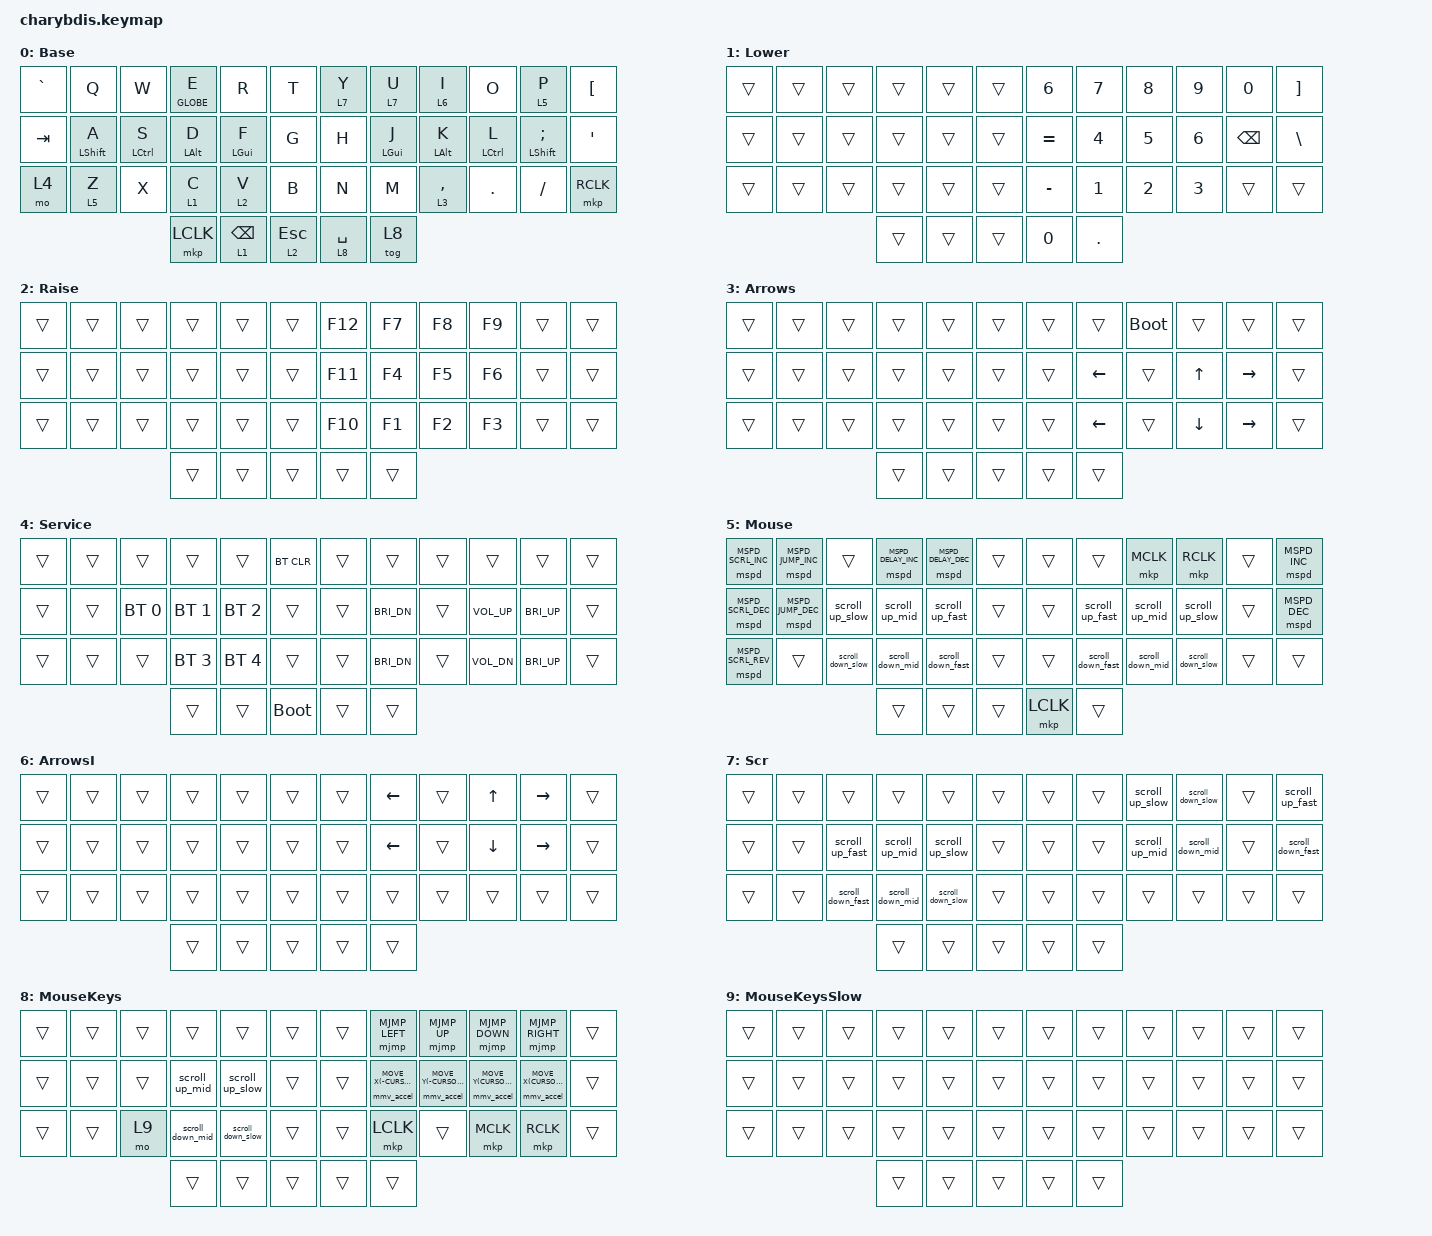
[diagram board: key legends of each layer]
#include <behaviors.dtsi>
#include <dt-bindings/zmk/pointing.h>
#include <zephyr/dt-bindings/input/input-event-codes.h>
#include <dt-bindings/zmk/keys.h>
#include <dt-bindings/zmk/bt.h>
#include <dt-bindings/zmk/outputs.h>
#include <dt-bindings/zmk/mouse_speed.h>
#include <dt-bindings/zmk/keys.h>

// Wheel units per second for the scroll_up_* / scroll_down_* macros
#define SCROLL_SPEED(n) ((n) * 10)

// Keyboard cursor speed in pixels per second at the 100% speed level.
// Horizontal is 12/9 of vertical, for both smooth movement and jumps.
#define CURSOR_RATIO_MUL 12
#define CURSOR_RATIO_DIV 9
#define CURSOR_Y 600
#define CURSOR_X (CURSOR_Y * CURSOR_RATIO_MUL / CURSOR_RATIO_DIV)

&lt {
    tapping-term-ms = <200>;
    flavor = "balanced";
    quick-tap-ms = <150>;
};

&mt {
    tapping-term-ms = <200>;
    flavor = "balanced";
    quick-tap-ms = <150>;
    require-prior-idle-ms = <125>;
};

/ {
    behaviors {
        // Tap-preferred so fast typing never turns Z into a layer hold
        lt_tp: layer_tap_tap_preferred {
            compatible = "zmk,behavior-hold-tap";
            #binding-cells = <2>;
            flavor = "tap-preferred";
            tapping-term-ms = <200>;
            quick-tap-ms = <150>;
            bindings = <&mo>, <&kp>;
        };

        // Smooth constant-speed scroll: keeps scrolling while the key is
        // held and stops as soon as it is released
        msc_smooth: mouse_scroll_smooth {
            compatible = "zmk,behavior-input-two-axis";
            #binding-cells = <1>;
            x-input-code = <INPUT_REL_HWHEEL>;
            y-input-code = <INPUT_REL_WHEEL>;
            trigger-period-ms = <16>;
            time-to-max-speed-ms = <0>;
            acceleration-exponent = <0>;
        };

        // Cursor movement: accelerates to full speed over 300 ms while held,
        // stops on release.
        // Holding two directions adds them up into a diagonal
        mmv_accel: mouse_move_accel {
            compatible = "zmk,behavior-input-two-axis";
            #binding-cells = <1>;
            x-input-code = <INPUT_REL_X>;
            y-input-code = <INPUT_REL_Y>;
            trigger-period-ms = <8>;
            time-to-max-speed-ms = <300>;
            acceleration-exponent = <1>;
        };

        // Steps the cursor speed, scroll speed, jump step or jump delay up or
        // down, or toggles scroll reversal, for the active BT profile
        mspd: mouse_speed {
            compatible = "zmk,behavior-mouse-speed";
            #binding-cells = <1>;
        };

        // Coarse cursor jumps: one step on press, then another step after
        // every delay until release. Two directions add up into a diagonal
        mjmp: mouse_jump {
            compatible = "zmk,behavior-mouse-jump";
            #binding-cells = <1>;
            horizontal-mul = <CURSOR_RATIO_MUL>;
            horizontal-div = <CURSOR_RATIO_DIV>;
        };
    };

    zip_mouse_speed: zip_mouse_speed {
        compatible = "zmk,input-processor-mouse-speed";
        #input-processor-cells = <2>;
    };

    // Scroll speed follows the per-profile scroll level set on the MouseKeys layer
    msc_smooth_input_listener {
        compatible = "zmk,input-listener";
        device = <&msc_smooth>;
        input-processors = <&zip_mouse_speed 1 1>;

        // Holding X on the MouseKeys layer halves the speed
        slow {
            layers = <9>;
            input-processors = <&zip_mouse_speed 1 2>;
        };
    };

    mmv_accel_input_listener {
        compatible = "zmk,input-listener";
        device = <&mmv_accel>;
        input-processors = <&zip_mouse_speed 1 1>;

        // Holding X on the MouseKeys layer halves the speed
        slow {
            layers = <9>;
            input-processors = <&zip_mouse_speed 1 2>;
        };
    };

    // Jumps bypass the cursor speed level: their step size is set directly
    mjmp_input_listener {
        compatible = "zmk,input-listener";
        device = <&mjmp>;
    };

    macros {
        // Scroll while held: SCROLL_SPEED(n) wheel units per second
        scroll_down_slow: scroll_down_slow {
            compatible = "zmk,behavior-macro";
            #binding-cells = <0>;
            wait-ms = <0>;
            tap-ms = <0>;
            bindings = <&macro_press &msc_smooth MOVE_Y(SCROLL_SPEED(2))>, <&macro_pause_for_release>, <&macro_release &msc_smooth MOVE_Y(SCROLL_SPEED(2))>;
        };

        scroll_up_slow: scroll_up_slow {
            compatible = "zmk,behavior-macro";
            #binding-cells = <0>;
            wait-ms = <0>;
            tap-ms = <0>;
            bindings = <&macro_press &msc_smooth MOVE_Y(-SCROLL_SPEED(2))>, <&macro_pause_for_release>, <&macro_release &msc_smooth MOVE_Y(-SCROLL_SPEED(2))>;
        };

        scroll_down_mid: scroll_down_mid {
            compatible = "zmk,behavior-macro";
            #binding-cells = <0>;
            wait-ms = <0>;
            tap-ms = <0>;
            bindings = <&macro_press &msc_smooth MOVE_Y(SCROLL_SPEED(5))>, <&macro_pause_for_release>, <&macro_release &msc_smooth MOVE_Y(SCROLL_SPEED(5))>;
        };

        scroll_up_mid: scroll_up_mid {
            compatible = "zmk,behavior-macro";
            #binding-cells = <0>;
            wait-ms = <0>;
            tap-ms = <0>;
            bindings = <&macro_press &msc_smooth MOVE_Y(-SCROLL_SPEED(5))>, <&macro_pause_for_release>, <&macro_release &msc_smooth MOVE_Y(-SCROLL_SPEED(5))>;
        };

        scroll_down_fast: scroll_down_fast {
            compatible = "zmk,behavior-macro";
            #binding-cells = <0>;
            wait-ms = <0>;
            tap-ms = <0>;
            bindings = <&macro_press &msc_smooth MOVE_Y(SCROLL_SPEED(20))>, <&macro_pause_for_release>, <&macro_release &msc_smooth MOVE_Y(SCROLL_SPEED(20))>;
        };

        scroll_up_fast: scroll_up_fast {
            compatible = "zmk,behavior-macro";
            #binding-cells = <0>;
            wait-ms = <0>;
            tap-ms = <0>;
            bindings = <&macro_press &msc_smooth MOVE_Y(-SCROLL_SPEED(20))>, <&macro_pause_for_release>, <&macro_release &msc_smooth MOVE_Y(-SCROLL_SPEED(20))>;
        };

        cmd_c: cmd_c {
            compatible = "zmk,behavior-macro";
            #binding-cells = <0>;
            bindings = <&macro_press &kp LGUI>, <&macro_tap &kp C>, <&macro_release &kp LGUI>;
        };

        cmd_v: cmd_v {
            compatible = "zmk,behavior-macro";
            #binding-cells = <0>;
            bindings = <&macro_press &kp LGUI>, <&macro_tap &kp V>, <&macro_release &kp LGUI>;
        };

        cmd_z: cmd_z {
            compatible = "zmk,behavior-macro";
            #binding-cells = <0>;
            bindings = <&macro_press &kp LGUI>, <&macro_tap &kp Z>, <&macro_release &kp LGUI>;
        };
    };

    combos {
            compatible = "zmk,combos";

            combo_enter {
                bindings = <&kp ENTER>;
                key-positions = <8 9>;
                timeout-ms = <50>;
                layers = <0>;
            };

            combo_mouse_L {
                bindings = <&mkp LCLK>;
                key-positions = <7 8>;
                timeout-ms = <50>;
                layers = <0>;
            };

            combo_mouse_M {
                bindings = <&mkp MCLK>;
                key-positions = <9 10>;
                timeout-ms = <50>;
                layers = <0>;
            };

            combo_cmd_C {
                bindings = <&cmd_c>;
                key-positions = <26 27>;
                timeout-ms = <50>;
                layers = <0>;
            };

            combo_cmd_V {
                bindings = <&cmd_v>;
                key-positions = <27 28>;
                timeout-ms = <50>;
                layers = <0>;
            };

            combo_cmd_Z {
                bindings = <&cmd_z>;
                key-positions = <25 26>;
                timeout-ms = <50>;
                layers = <0>;
            };
        };

    keymap {
        compatible = "zmk,keymap";

        Base {
            label = "Base";
            bindings = <
  &kp GRAVE     &kp Q       &kp W           &mt GLOBE E         &kp R       &kp T           &lt 7 Y         &lt 7 U        &lt 6 I           &kp O        &lt 5 P             &kp LBKT
  &kp TAB       &mt LSHFT A &mt LCTRL S     &mt LEFT_ALT D      &mt LGUI F  &kp G           &kp H           &mt LGUI J     &mt LEFT_ALT K    &mt LCTRL L  &mt LSHFT SEMI      &kp APOS
  &mo 4         &lt 5 Z     &kp X           &lt 1 C             &lt 2 V     &kp B           &kp N           &kp M          &lt 3 COMMA       &kp DOT      &kp FSLH            &mkp RCLK
                                            &mkp LCLK           &lt 1 BSPC  &lt 2 ESC       &lt 8 SPACE     &tog 8
            >;
        };

        Lower {
            label = "Lower";
            bindings = <
      &trans    &trans    &trans     &trans     &trans    &trans       &kp N6       &kp N7  &kp N8  &kp N9    &kp N0    &kp RBKT
      &trans    &trans    &trans     &trans     &trans    &trans       &kp EQUAL    &kp N4  &kp N5  &kp N6    &kp BSPC  &kp BSLH
      &trans    &trans    &trans     &trans     &trans    &trans       &kp MINUS    &kp N1  &kp N2  &kp N3    &trans    &trans
                                     &trans     &trans    &trans       &kp N0       &kp DOT
            >;
        };

        Raise {
            label = "Raise";
            bindings = <
      &trans    &trans    &trans     &trans     &trans    &trans       &kp F12   &kp F7  &kp F8  &kp F9    &trans  &trans
      &trans    &trans    &trans     &trans     &trans    &trans       &kp F11   &kp F4  &kp F5  &kp F6    &trans  &trans
      &trans    &trans    &trans     &trans     &trans    &trans       &kp F10   &kp F1  &kp F2  &kp F3    &trans  &trans
                                     &trans  &trans  &trans  &trans  &trans
            >;
        };

        Arrows {
            label = "Arrows";
            bindings = <
&trans  &trans  &trans  &trans  &trans   &trans      &trans  &trans  &bootloader  &trans  &trans     &trans
&trans  &trans  &trans  &trans  &trans   &trans      &trans  &kp LEFT  &trans  &kp UP     &kp RIGHT  &trans
&trans  &trans  &trans  &trans  &trans   &trans      &trans  &kp LEFT  &trans  &kp DOWN   &kp RIGHT  &trans
                        &trans  &trans  &trans  &trans  &trans
            >;
        };

        Service {
            label = "Service";
            bindings = <
&trans  &trans  &trans        &trans        &trans         &bt BT_CLR       &trans  &trans        &trans  &trans        &trans        &trans
&trans  &trans  &bt BT_SEL 0  &bt BT_SEL 1  &bt BT_SEL 2   &trans           &trans  &kp C_BRI_DN  &trans  &kp K_VOL_UP  &kp C_BRI_UP  &trans
&trans  &trans  &trans        &bt BT_SEL 3  &bt BT_SEL 4   &trans           &trans  &kp C_BRI_DN  &trans  &kp K_VOL_DN  &kp C_BRI_UP  &trans
                              &trans  &trans  &bootloader  &trans  &trans
            >;
        };

        // Hold P. [ and ' step the keyboard cursor speed up and down, ` and Tab
        // the scroll speed, Q/A the jump step, E/R the delay between jumps,
        // the bottom-left key reverses scrolling up and down
        Mouse {
            bindings = <
   &mspd MSPD_SCRL_INC  &mspd MSPD_JUMP_INC  &trans               &mspd MSPD_DELAY_INC  &mspd MSPD_DELAY_DEC  &trans          &trans      &trans               &mkp MCLK           &mkp RCLK         &trans      &mspd MSPD_INC
   &mspd MSPD_SCRL_DEC  &mspd MSPD_JUMP_DEC  &scroll_up_slow      &scroll_up_mid        &scroll_up_fast       &trans          &trans      &scroll_up_fast      &scroll_up_mid      &scroll_up_slow   &trans      &mspd MSPD_DEC
   &mspd MSPD_SCRL_REV  &trans               &scroll_down_slow    &scroll_down_mid      &scroll_down_fast     &trans          &trans      &scroll_down_fast    &scroll_down_mid    &scroll_down_slow &trans      &trans
                                        &trans              &trans              &trans          &mkp LCLK   &trans
            >;
        };

        ArrowsI {
            label = "ArrowsI";
            bindings = <
&trans  &trans  &trans  &trans  &trans   &trans      &trans  &kp LEFT  &trans  &kp UP     &kp RIGHT    &trans
&trans  &trans  &trans  &trans  &trans   &trans      &trans  &kp LEFT  &trans  &kp DOWN   &kp RIGHT    &trans
&trans  &trans  &trans  &trans  &trans   &trans      &trans  &trans    &trans  &trans     &trans       &trans
                        &trans  &trans   &trans      &trans  &trans
            >;
        };

        Scr {
            bindings = <
   &trans  &trans  &trans               &trans              &trans              &trans          &trans      &trans  &scroll_up_slow     &scroll_down_slow   &trans              &scroll_up_fast
   &trans  &trans  &scroll_up_fast      &scroll_up_mid      &scroll_up_slow     &trans          &trans      &trans  &scroll_up_mid      &scroll_down_mid    &trans              &scroll_down_fast
   &trans  &trans  &scroll_down_fast    &scroll_down_mid    &scroll_down_slow   &trans          &trans      &trans  &trans              &trans              &trans              &trans
                                        &trans              &trans              &trans          &trans      &trans
            >;
        };

        // Hold Space, or tap Enter to toggle the layer on and off. UIOP jump
        // the cursor in steps for coarse aiming, JKL; move it smoothly for
        // precise aiming, X held halves smooth movement.
        // D/C scroll at mid speed, F/V slowly. Speed, jump and scroll
        // settings live on the Mouse layer
        MouseKeys {
            bindings = <
   &trans  &trans  &trans  &trans              &trans              &trans      &trans  &mjmp MJMP_LEFT              &mjmp MJMP_UP                &mjmp MJMP_DOWN              &mjmp MJMP_RIGHT             &trans
   &trans  &trans  &trans  &scroll_up_mid      &scroll_up_slow     &trans      &trans  &mmv_accel MOVE_X(-CURSOR_X) &mmv_accel MOVE_Y(-CURSOR_Y) &mmv_accel MOVE_Y(CURSOR_Y)  &mmv_accel MOVE_X(CURSOR_X)  &trans
   &trans  &trans  &mo 9   &scroll_down_mid    &scroll_down_slow   &trans      &trans  &mkp LCLK                    &trans                       &mkp MCLK                    &mkp RCLK                    &trans
                           &trans  &trans  &trans      &trans  &trans
            >;
        };

        MouseKeysSlow {
            bindings = <
   &trans  &trans  &trans  &trans  &trans  &trans      &trans  &trans  &trans  &trans  &trans  &trans
   &trans  &trans  &trans  &trans  &trans  &trans      &trans  &trans  &trans  &trans  &trans  &trans
   &trans  &trans  &trans  &trans  &trans  &trans      &trans  &trans  &trans  &trans  &trans  &trans
                           &trans  &trans  &trans      &trans  &trans
            >;
        };
    };
};
